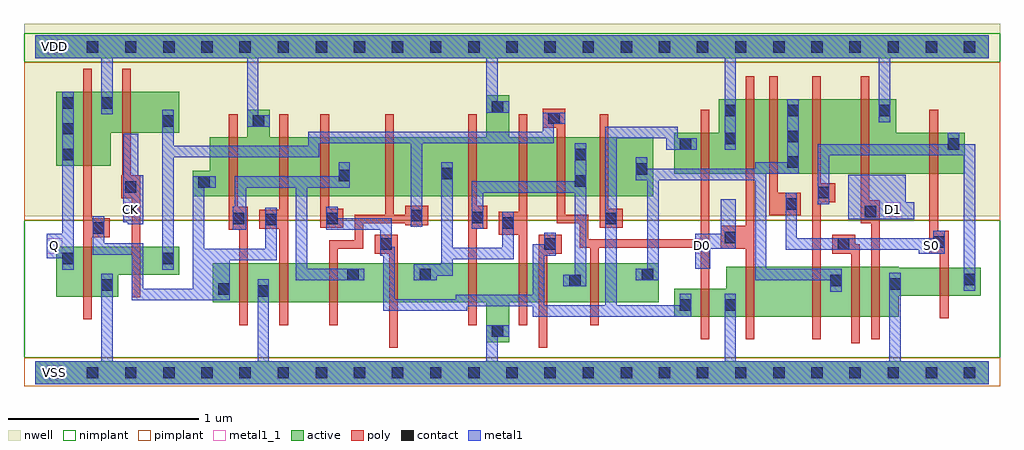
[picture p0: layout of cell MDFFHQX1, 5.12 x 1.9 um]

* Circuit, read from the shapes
.subckt MDFFHQX1 CK D0 D1 Q S0 VDD VSS
M1 VSS n1 Q VSS nfet w=0.26u l=0.045u
M2 n2 CK VSS VSS nfet w=0.145u l=0.045u
M3 VSS n3 n1 VSS nfet w=0.205u l=0.045u
M4 n4 n1 VSS VSS nfet w=0.205u l=0.045u
M5 n3 n2 n4 VSS nfet w=0.205u l=0.045u
M6 n5 n6 n3 VSS nfet w=0.205u l=0.045u
M7 VSS n7 n5 VSS nfet w=0.205u l=0.045u
M8 n8 n5 VSS VSS nfet w=0.205u l=0.045u
M9 n7 n6 n8 VSS nfet w=0.205u l=0.045u
M10 n9 n2 n7 VSS nfet w=0.205u l=0.045u
M11 VSS n2 n6 VSS nfet w=0.145u l=0.045u
M12 n10 D0 VSS VSS nfet w=0.26u l=0.045u
M13 n9 n11 n10 VSS nfet w=0.26u l=0.045u
M14 n12 S0 n9 VSS nfet w=0.26u l=0.045u
M15 VSS D1 n12 VSS nfet w=0.26u l=0.045u
M16 n11 S0 VSS VSS nfet w=0.145u l=0.045u
M17 VDD n1 Q VDD pfet w=0.39u l=0.045u
M18 n2 CK VDD VDD pfet w=0.215u l=0.045u
M19 VDD n3 n1 VDD pfet w=0.31u l=0.045u
M20 n13 n1 VDD VDD pfet w=0.31u l=0.045u
M21 n3 n6 n13 VDD pfet w=0.31u l=0.045u
M22 n5 n2 n3 VDD pfet w=0.31u l=0.045u
M23 VDD n7 n5 VDD pfet w=0.31u l=0.045u
M24 n14 n5 VDD VDD pfet w=0.31u l=0.045u
M25 n7 n2 n14 VDD pfet w=0.31u l=0.045u
M26 n9 n6 n7 VDD pfet w=0.31u l=0.045u
M27 VDD n2 n6 VDD pfet w=0.215u l=0.045u
M28 n15 D0 VDD VDD pfet w=0.39u l=0.045u
M29 n9 S0 n15 VDD pfet w=0.39u l=0.045u
M30 n16 n11 n9 VDD pfet w=0.39u l=0.045u
M31 VDD D1 n16 VDD pfet w=0.39u l=0.045u
M32 n11 S0 VDD VDD pfet w=0.215u l=0.045u
.ends

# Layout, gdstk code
import gdstk
lib = gdstk.Library(unit=1e-6, precision=5e-10)
def R(c, l, rs):  # rectangles x0, y0, x1, y1
    for r in rs: c.add(gdstk.rectangle(r[:2], r[2:], *l))
def A(c, l, x, y, w, h, nx, ny, dx, dy):  # array of equal rectangles
    R(c, l, [(x+i*dx, y+j*dy, x+i*dx+w, y+j*dy+h) for i in range(nx) for j in range(ny)])
def P(c, l, *ps):  # polygons
    for p in ps: c.add(gdstk.Polygon(p, *l))
active = (1, 0)
nwell = (2, 0)
poly = (3, 0)
nimplant = (4, 0)
pimplant = (5, 0)
contact = (6, 0)
metal1 = (7, 0)
metal1_1 = (7, 1)

mdffhqx1 = lib.new_cell('MDFFHQX1')
R(mdffhqx1, active, [(0,-0.06,5,0.06), (0,1.65,5,1.77)])
P(mdffhqx1, active, [(0.11,1.475),(0.755,1.475),(0.755,1.26),(0.395,1.26),(0.395,1.085),(0.11,1.085)],
  [(1.11,1.38),(1.23,1.38),(1.23,1.235),(2.365,1.235),(2.365,1.455),(2.485,1.455),(2.485,1.235),(3.24,1.235),(3.24,0.925),(0.825,0.925),(0.825,1.06),(0.915,1.06),(0.915,1.235),(1.11,1.235)],
  [(3.585,1.435),(4.515,1.435),(4.515,1.26),(4.875,1.26),(4.875,1.045),(3.35,1.045),(3.35,1.26),(3.585,1.26)],
  [(0.11,0.66),(0.755,0.66),(0.755,0.515),(0.435,0.515),(0.435,0.4),(0.11,0.4)],
  [(3.625,0.555),(4.53,0.555),(4.53,0.55),(4.96,0.55),(4.96,0.405),(4.53,0.405),(4.53,0.295),(3.35,0.295),(3.35,0.44),(3.625,0.44)],
  [(0.93,0.575),(3.27,0.575),(3.27,0.37),(2.485,0.37),(2.485,0.16),(2.365,0.16),(2.365,0.37),(0.93,0.37)])
R(mdffhqx1, nwell, [(-0.06,0.82,5.06,1.83)])
P(mdffhqx1, poly, [(0.25,1.595),(0.295,1.595),(0.295,0.81),(0.39,0.81),(0.39,0.71),(0.295,0.71),(0.295,0.28),(0.25,0.28)],
  [(0.455,1.595),(0.5,1.595),(0.5,1.035),(0.55,1.035),(0.55,0.395),(0.505,0.395),(0.505,0.915),(0.45,0.915),(0.45,1.035),(0.455,1.035)],
  [(2.66,1.385),(2.78,1.385),(2.78,0.83),(2.9,0.83),(2.9,0.7),(3.49,0.7),(3.49,1.38),(3.535,1.38),(3.535,0.175),(3.49,0.175),(3.49,0.655),(2.955,0.655),(2.955,0.25),(2.91,0.25),(2.91,0.655),(2.855,0.655),(2.855,0.785),(2.735,0.785),(2.735,1.285),(2.66,1.285)],
  [(1.015,1.355),(1.06,1.355),(1.06,0.87),(1.115,0.87),(1.115,0.25),(1.07,0.25),(1.07,0.75),(1.015,0.75)],
  [(1.28,1.355),(1.325,1.355),(1.325,0.25),(1.28,0.25),(1.28,0.755),(1.175,0.755),(1.175,0.855),(1.28,0.855)],
  [(1.495,1.355),(1.54,1.355),(1.54,0.86),(1.615,0.86),(1.615,0.76),(1.495,0.76)],
  [(1.835,1.355),(1.88,1.355),(1.88,0.83),(1.94,0.83),(1.94,0.875),(2.06,0.875),(2.06,0.775),(1.94,0.775),(1.94,0.785),(1.72,0.785),(1.72,0.65),(1.585,0.65),(1.585,0.25),(1.54,0.25),(1.54,0.695),(1.675,0.695),(1.675,0.83),(1.835,0.83)],
  [(2.27,1.355),(2.315,1.355),(2.315,0.875),(2.37,0.875),(2.37,0.755),(2.315,0.755),(2.315,0.25),(2.27,0.25)],
  [(2.535,1.355),(2.58,1.355),(2.58,0.25),(2.535,0.25),(2.535,0.725),(2.43,0.725),(2.43,0.845),(2.535,0.845)],
  [(3.725,1.555),(3.77,1.555),(3.77,0.175),(3.725,0.175),(3.725,0.65),(3.595,0.65),(3.595,0.77),(3.725,0.77)],
  [(3.85,1.555),(3.895,1.555),(3.895,0.945),(4.015,0.945),(4.015,0.825),(3.85,0.825)],
  [(4.075,1.555),(4.12,1.555),(4.12,0.995),(4.195,0.995),(4.195,0.895),(4.12,0.895),(4.12,0.175),(4.075,0.175)],
  [(4.33,1.555),(4.375,1.555),(4.375,0.905),(4.43,0.905),(4.43,0.175),(4.385,0.175),(4.385,0.785),(4.33,0.785)],
  [(2.96,1.355),(3.005,1.355),(3.005,0.86),(3.08,0.86),(3.08,0.76),(2.96,0.76)],
  [(4.69,1.38),(4.735,1.38),(4.735,0.745),(4.79,0.745),(4.79,0.285),(4.745,0.285),(4.745,0.625),(4.69,0.625)],
  [(1.78,0.725),(1.9,0.725),(1.9,0.13),(1.855,0.13),(1.855,0.625),(1.78,0.625)],
  [(2.64,0.725),(2.76,0.725),(2.76,0.625),(2.685,0.625),(2.685,0.13),(2.64,0.13)],
  [(4.18,0.725),(4.3,0.725),(4.3,0.675),(4.325,0.675),(4.325,0.155),(4.28,0.155),(4.28,0.625),(4.18,0.625)])
R(mdffhqx1, nimplant, [(-0.06,0.08,5.06,0.8), (-0.06,1.63,5.06,1.78)])
R(mdffhqx1, pimplant, [(-0.06,-0.07,5.06,0.08), (-0.06,0.8,5.06,1.63)])
A(mdffhqx1, contact, 0.07, -0.03, 0.06, 0.06, 25, 2, 0.2, 1.71)
A(mdffhqx1, contact, 3.945, 1.075, 0.06, 0.06, 1, 3, 0, 0.135)
A(mdffhqx1, contact, 0.14, 1.115, 0.06, 0.06, 1, 3, 0, 0.135)
R(mdffhqx1, contact, [(2.395,0.19,2.455,0.25), (3.38,0.325,3.44,0.385), (3.615,0.325,3.675,0.385), (1.165,0.4,1.225,0.46), (0.96,0.41,1.02,0.47), (0.345,0.43,0.405,0.49), (4.48,0.435,4.54,0.495), (2.8,0.455,2.86,0.515), (4.17,0.455,4.23,0.515), (4.87,0.46,4.93,0.52), (1.635,0.485,1.695,0.545), (2.015,0.485,2.075,0.545), (3.18,0.485,3.24,0.545), (0.14,0.57,0.2,0.63), (0.665,0.57,0.725,0.63), (1.81,0.645,1.87,0.705), (2.67,0.645,2.73,0.705), (4.21,0.645,4.27,0.705), (4.71,0.655,4.77,0.715), (3.615,0.68,3.675,0.74), (0.3,0.73,0.36,0.79), (2.45,0.755,2.51,0.815), (1.205,0.775,1.265,0.835), (1.035,0.78,1.095,0.84), (1.525,0.78,1.585,0.84), (2.99,0.78,3.05,0.84), (2.29,0.785,2.35,0.845), (1.97,0.795,2.03,0.855), (4.35,0.815,4.41,0.875), (3.935,0.855,3.995,0.915), (4.105,0.915,4.165,0.975), (0.47,0.945,0.53,1.005), (0.855,0.97,0.915,1.03), (2.83,0.975,2.89,1.035), (1.59,1.005,1.65,1.065), (2.13,1.015,2.19,1.075), (3.15,1.04,3.21,1.1), (2.83,1.115,2.89,1.175), (3.38,1.17,3.44,1.23), (4.785,1.17,4.845,1.23), (3.615,1.2,3.675,1.26), (0.665,1.29,0.725,1.35), (1.14,1.29,1.2,1.35), (2.69,1.305,2.75,1.365), (3.615,1.345,3.675,1.405), (4.425,1.345,4.485,1.405), (2.395,1.365,2.455,1.425), (0.345,1.385,0.405,1.445)])
P(mdffhqx1, metal1, [(0,1.77),(5,1.77),(5,1.65),(4.485,1.65),(4.485,1.315),(4.425,1.315),(4.425,1.65),(3.675,1.65),(3.675,1.17),(3.615,1.17),(3.615,1.65),(2.425,1.65),(2.425,1.425),(2.485,1.425),(2.485,1.365),(2.365,1.365),(2.365,1.65),(1.17,1.65),(1.17,1.35),(1.23,1.35),(1.23,1.29),(1.11,1.29),(1.11,1.65),(0.405,1.65),(0.405,1.355),(0.345,1.355),(0.345,1.65),(0,1.65)],
  [(0.14,1.475),(0.2,1.475),(0.2,0.54),(0.14,0.54),(0.14,0.6),(0.06,0.6),(0.06,0.73),(0.14,0.73)],
  [(0.665,1.38),(0.725,1.38),(0.725,1.19),(1.43,1.19),(1.43,1.265),(2.66,1.265),(2.66,1.365),(2.78,1.365),(2.78,1.305),(2.72,1.305),(2.72,1.205),(2.03,1.205),(2.03,0.765),(1.97,0.765),(1.97,1.205),(1.49,1.205),(1.49,1.13),(0.725,1.13),(0.725,0.54),(0.665,0.54)],
  [(1.59,1.105),(1.65,1.105),(1.65,0.97),(1.425,0.97),(1.425,0.545),(1.725,0.545),(1.725,0.485),(1.365,0.485),(1.365,0.97),(1.105,0.97),(1.105,0.75),(1.035,0.75),(1.035,0.87),(1.045,0.87),(1.045,1.03),(1.59,1.03)],
  [(0.46,1.255),(0.54,1.255),(0.54,1.035),(0.565,1.035),(0.565,0.78),(0.485,0.78),(0.485,0.79),(0.46,0.79)],
  [(0.825,1.03),(0.945,1.03),(0.945,0.97),(0.885,0.97),(0.885,0.65),(1.205,0.65),(1.205,0.865),(1.265,0.865),(1.265,0.59),(1.02,0.59),(1.02,0.38),(0.505,0.38),(0.505,0.62),(0.3,0.62),(0.3,0.82),(0.36,0.82),(0.36,0.68),(0.565,0.68),(0.565,0.44),(0.825,0.44)],
  [(0.345,0.52),(0.405,0.52),(0.405,0.06),(1.165,0.06),(1.165,0.49),(1.225,0.49),(1.225,0.06),(2.365,0.06),(2.365,0.25),(2.485,0.25),(2.485,0.19),(2.425,0.19),(2.425,0.06),(3.615,0.06),(3.615,0.415),(3.675,0.415),(3.675,0.06),(4.48,0.06),(4.48,0.525),(4.54,0.525),(4.54,0.06),(5,0.06),(5,-0.06),(0,-0.06),(0,0.06),(0.345,0.06)],
  [(2.99,1.29),(3.37,1.29),(3.37,1.23),(3.47,1.23),(3.47,1.17),(3.31,1.17),(3.31,1.23),(3.05,1.23),(3.05,0.355),(3.38,0.355),(3.38,0.415),(3.44,0.415),(3.44,0.295),(2.61,0.295),(2.61,0.35),(2.265,0.35),(2.265,0.325),(1.825,0.325),(1.825,0.615),(1.81,0.615),(1.81,0.75),(1.525,0.75),(1.525,0.87),(1.585,0.87),(1.585,0.81),(1.87,0.81),(1.87,0.66),(1.885,0.66),(1.885,0.385),(2.205,0.385),(2.205,0.41),(2.61,0.41),(2.61,0.675),(2.67,0.675),(2.67,0.735),(2.73,0.735),(2.73,0.615),(2.67,0.615),(2.67,0.355),(2.99,0.355)],
  [(2.83,1.205),(2.89,1.205),(2.89,0.455),(2.77,0.455),(2.77,0.515),(2.83,0.515),(2.83,0.945),(2.35,0.945),(2.35,0.755),(2.29,0.755),(2.29,1.005),(2.83,1.005)],
  [(2.13,1.105),(2.19,1.105),(2.19,0.655),(2.45,0.655),(2.45,0.845),(2.51,0.845),(2.51,0.595),(2.19,0.595),(2.19,0.51),(2.105,0.51),(2.105,0.485),(1.985,0.485),(1.985,0.57),(2.13,0.57)],
  [(3.15,1.13),(3.21,1.13),(3.21,1.07),(3.775,1.07),(3.775,1.105),(3.945,1.105),(3.945,1.435),(4.005,1.435),(4.005,1.045),(3.835,1.045),(3.835,0.545),(4.23,0.545),(4.23,0.425),(4.17,0.425),(4.17,0.485),(3.775,0.485),(3.775,1.01),(3.27,1.01),(3.27,0.485),(3.15,0.485),(3.15,0.545),(3.21,0.545),(3.21,1.01),(3.15,1.01)],
  [(4.785,1.26),(4.845,1.26),(4.845,1.2),(4.93,1.2),(4.93,0.43),(4.87,0.43),(4.87,1.14),(4.165,1.14),(4.165,0.885),(4.105,0.885),(4.105,1.2),(4.785,1.2)],
  [(3.595,0.91),(3.675,0.91),(3.675,0.65),(3.54,0.65),(3.54,0.545),(3.46,0.545),(3.46,0.73),(3.595,0.73)],
  [(3.935,0.945),(3.995,0.945),(3.995,0.705),(4.71,0.705),(4.71,0.745),(4.77,0.745),(4.77,0.625),(4.635,0.625),(4.635,0.645),(3.935,0.645)],
  [(4.265,1.04),(4.565,1.04),(4.565,0.895),(4.61,0.895),(4.61,0.805),(4.265,0.805)])
R(mdffhqx1, metal1_1, [(0.06,-0.04,0.14,0.04), (0.06,0.625,0.14,0.705), (3.46,0.625,3.54,0.705), (4.66,0.625,4.74,0.705), (0.46,0.815,0.54,0.895), (4.46,0.815,4.54,0.895), (0.06,1.67,0.14,1.75)])
mdffhqx1.add(gdstk.Label('Q', (0.1,0.665), layer=7, texttype=1))
mdffhqx1.add(gdstk.Label('S0', (4.7,0.665), layer=7, texttype=1))
mdffhqx1.add(gdstk.Label('D1', (4.5,0.855), layer=7, texttype=1))
mdffhqx1.add(gdstk.Label('D0', (3.5,0.665), layer=7, texttype=1))
mdffhqx1.add(gdstk.Label('CK', (0.5,0.855), layer=7, texttype=1))
mdffhqx1.add(gdstk.Label('VDD', (0.1,1.71), layer=7, texttype=1))
mdffhqx1.add(gdstk.Label('VSS', (0.1,0), layer=7, texttype=1))
mdffhqx1.add(gdstk.Label('MDFFHQX1', (0,0), layer=63, texttype=0))

lib.write_gds('MDFFHQX1.gds')
